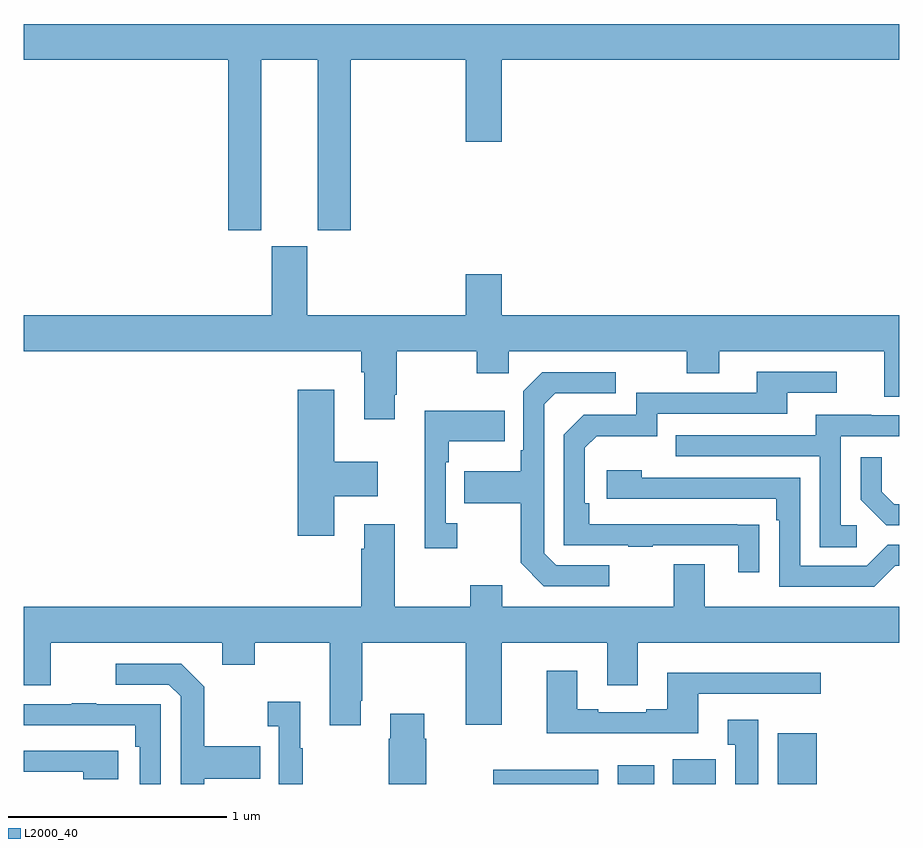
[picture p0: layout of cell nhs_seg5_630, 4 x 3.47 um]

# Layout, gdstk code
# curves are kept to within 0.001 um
import gdstk
lib = gdstk.Library(unit=1e-6, precision=1e-09)
def R(c, l, rs):  # rectangles x0, y0, x1, y1
    for r in rs: c.add(gdstk.rectangle(r[:2], r[2:], *l))
def P(c, l, *ps):  # polygons
    for p in ps: c.add(gdstk.Polygon(p, *l))
L2000_40 = (2000, 40)

nhs_seg5_630 = lib.new_cell('nhs_seg5_630')
R(nhs_seg5_630, L2000_40, [(153.144,838.799,153.625,838.864), (153.713,838.799,153.88,838.885), (153.965,838.799,154.162,838.912), (154.445,838.799,154.624,839.032)])
P(nhs_seg5_630, L2000_40, [(152.086,842.108),(152.342,842.108),(152.342,841.329),(152.495,841.329),(152.495,842.108),(153.02,842.108),(153.02,841.734),(153.184,841.734),(153.184,842.108),(155,842.108),(155,842.272),(151,842.272),(151,842.108),(151.934,842.108),(151.934,841.329),(152.086,841.329)],
  [(153.02,840.94),(152.296,840.94),(152.296,841.257),(152.132,841.257),(152.132,840.94),(151,840.94),(151,840.776),(152.543,840.776),(152.543,840.68),(152.555,840.68),(152.555,840.465),(152.695,840.465),(152.695,840.577),(152.703,840.577),(152.703,840.776),(153.07,840.776),(153.07,840.677),(153.216,840.677),(153.216,840.776),(154.03,840.776),(154.03,840.677),(154.177,840.677),(154.177,840.776),(154.931,840.776),(154.931,840.568),(155,840.568),(155,840.94),(153.184,840.94),(153.184,841.129),(153.02,841.129)],
  [(154.361,839.984),(153.584,839.985),(153.584,840.082),(153.564,840.082),(153.564,840.336),(153.617,840.389),(153.894,840.389),(153.894,840.492),(154.489,840.492),(154.489,840.588),(154.714,840.588),(154.714,840.684),(154.349,840.684),(154.349,840.588),(153.798,840.588),(153.798,840.486),(153.558,840.486),(153.468,840.396),(153.468,839.889),(153.763,839.889),(153.763,839.884),(153.875,839.884),(153.875,839.889),(154.265,839.889),(154.265,839.766),(154.361,839.766)],
  [(153.676,839.799),(153.432,839.799),(153.378,839.853),(153.378,840.534),(153.429,840.585),(153.706,840.585),(153.706,840.681),(153.369,840.681),(153.282,840.594),(153.282,840.325),(153.27,840.325),(153.27,840.229),(153.013,840.229),(153.013,840.082),(153.27,840.082),(153.27,839.809),(153.375,839.703),(153.676,839.703)],
  [(152.419,840.113),(152.617,840.113),(152.617,840.271),(152.419,840.271),(152.419,840.601),(152.252,840.601),(152.252,839.934),(152.419,839.934)],
  [(152.98,839.99),(152.928,839.99),(152.928,840.269),(152.941,840.269),(152.941,840.365),(153.197,840.365),(153.197,840.505),(152.831,840.505),(152.831,839.877),(152.98,839.877)],
  [(154.807,839.982),(154.734,839.982),(154.734,840.387),(155,840.387),(155,840.483),(154.873,840.483),(154.873,840.487),(154.619,840.487),(154.619,840.393),(153.979,840.393),(153.979,840.297),(154.638,840.297),(154.638,839.881),(154.807,839.881)],
  [(155,840.078),(154.978,840.078),(154.921,840.135),(154.921,840.292),(154.824,840.292),(154.824,840.098),(154.94,839.982),(155,839.982)],
  [(154.983,839.796),(155,839.796),(155,839.892),(154.947,839.892),(154.851,839.796),(154.548,839.796),(154.548,840.198),(153.824,840.198),(153.824,840.232),(153.663,840.232),(153.663,840.102),(154.439,840.102),(154.439,840.005),(154.452,840.005),(154.452,839.7),(154.887,839.7)],
  [(152.539,839.179),(152.547,839.179),(152.547,839.444),(153.02,839.444),(153.02,839.07),(153.184,839.07),(153.184,839.444),(153.665,839.444),(153.665,839.25),(153.805,839.25),(153.805,839.444),(155,839.444),(155,839.608),(154.111,839.608),(154.111,839.803),(153.971,839.803),(153.971,839.608),(153.187,839.608),(153.187,839.707),(153.04,839.707),(153.04,839.608),(152.695,839.608),(152.695,839.986),(152.555,839.986),(152.555,839.873),(152.543,839.873),(152.543,839.608),(151,839.608),(151,839.25),(151.123,839.25),(151.123,839.444),(151.907,839.444),(151.907,839.345),(152.055,839.345),(152.055,839.444),(152.399,839.444),(152.399,839.067),(152.539,839.067)],
  [(151.825,838.823),(152.081,838.823),(152.081,838.971),(151.825,838.971),(151.825,839.243),(151.719,839.349),(151.419,839.349),(151.419,839.253),(151.662,839.253),(151.716,839.199),(151.716,838.799),(151.825,838.799)],
  [(154.081,839.211),(154.642,839.211),(154.642,839.308),(153.941,839.308),(153.941,839.14),(153.845,839.14),(153.845,839.127),(153.625,839.127),(153.625,839.14),(153.529,839.14),(153.529,839.317),(153.389,839.317),(153.389,839.03),(154.081,839.03)],
  [(152.275,838.963),(152.263,838.963),(152.263,839.176),(152.115,839.176),(152.115,839.063),(152.166,839.063),(152.166,838.799),(152.275,838.799)],
  [(151.626,839.163),(151.331,839.163),(151.331,839.168),(151.219,839.168),(151.219,839.163),(151,839.163),(151,839.067),(151.51,839.067),(151.51,838.97),(151.53,838.97),(151.53,838.799),(151.626,838.799)],
  [(152.838,839.006),(152.83,839.006),(152.83,839.119),(152.675,839.119),(152.675,839.006),(152.668,839.006),(152.668,838.799),(152.838,838.799)],
  [(154.357,839.092),(154.217,839.092),(154.217,838.979),(154.25,838.979),(154.25,838.799),(154.357,838.799)],
  [(151.432,838.95),(151,838.95),(151,838.854),(151.271,838.854),(151.271,838.82),(151.432,838.82)])

lib.write_gds('nhs_seg5_630.gds')
